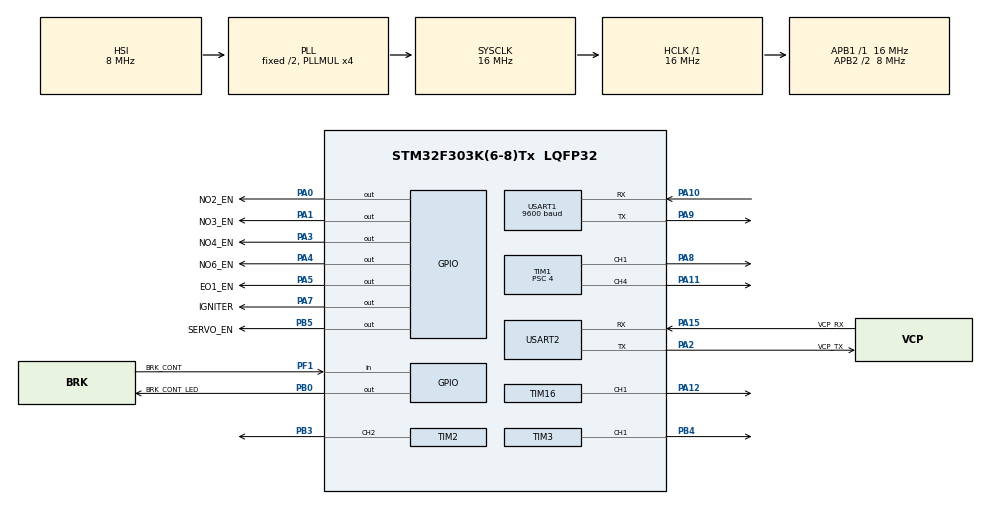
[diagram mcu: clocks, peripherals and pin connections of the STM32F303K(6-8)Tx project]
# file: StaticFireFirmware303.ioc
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Mcu.Family=STM32F3
Mcu.Name=STM32F303K(6-8)Tx
Mcu.Package=LQFP32
NVIC.PriorityGroup=NVIC_PRIORITYGROUP_4
NVIC.USART1_IRQn=true\:0\:0\:false\:false\:true\:true\:true\:true
PA0.GPIO_Label=NO2_EN
PA0.PinState=GPIO_PIN_RESET
PA0.Signal=GPIO_Output
PA1.GPIO_Label=NO3_EN
PA1.Signal=GPIO_Output
PA10.Mode=Asynchronous
PA10.Signal=USART1_RX
PA11.Signal=S_TIM1_CH4
PA12.Signal=S_TIM16_CH1
PA13.GPIO_Label=SWDIO
PA13.Mode=Serial_Wire
PA13.Signal=SYS_JTMS-SWDIO
PA14.GPIO_Label=SWCLK
PA14.Mode=Serial_Wire
PA14.Signal=SYS_JTCK-SWCLK
PA15.GPIO_Label=VCP_RX
PA15.Mode=Asynchronous
PA15.Signal=USART2_RX
PA2.GPIO_Label=VCP_TX
PA2.Mode=Asynchronous
PA2.Signal=USART2_TX
PA3.GPIO_Label=NO4_EN
PA3.Signal=GPIO_Output
PA4.GPIO_Label=NO6_EN
PA4.Signal=GPIO_Output
PA5.GPIO_Label=EO1_EN
PA5.Signal=GPIO_Output
PA7.GPIO_Label=IGNITER
PA7.GPIO_PuPd=GPIO_NOPULL
PA7.Signal=GPIO_Output
PA8.Signal=S_TIM1_CH1
PA9.Mode=Asynchronous
PA9.Signal=USART1_TX
PB0.GPIO_Label=BRK_CONT_LED
PB0.Signal=GPIO_Output
PB3.Signal=S_TIM2_CH2
PB4.Signal=S_TIM3_CH1
PB5.GPIO_Label=SERVO_EN
PB5.Signal=GPIO_Output
PF0\ /\ OSC_IN.GPIO_Label=MCO
PF0\ /\ OSC_IN.Mode=HSE-External-Clock-Source
PF0\ /\ OSC_IN.Signal=RCC_OSC_IN
PF1\ /\ OSC_OUT.GPIO_Label=BRK_CONT
PF1\ /\ OSC_OUT.GPIO_PuPd=GPIO_NOPULL
PF1\ /\ OSC_OUT.Signal=GPIO_Input
ProjectManager.HeapSize=0x200
ProjectManager.StackSize=0x400
ProjectManager.TargetToolchain=STM32CubeIDE
RCC.AHBFreq_Value=16000000
RCC.APB1Freq_Value=16000000
RCC.APB1TimFreq_Value=16000000
RCC.APB2CLKDivider=RCC_HCLK_DIV2
RCC.APB2Freq_Value=8000000
RCC.APB2TimFreq_Value=16000000
RCC.CortexFreq_Value=16000000
RCC.HCLKFreq_Value=16000000
RCC.HSE_VALUE=8000000
RCC.HSI_VALUE=8000000
RCC.PLLMUL=RCC_PLL_MUL4
RCC.SYSCLKFreq_VALUE=16000000
RCC.SYSCLKSourceVirtual=RCC_SYSCLKSOURCE_PLLCLK
SH.S_TIM16_CH1.0=TIM16_CH1,PWM Generation1 CH1
SH.S_TIM1_CH1.0=TIM1_CH1,PWM Generation1 CH1
SH.S_TIM1_CH4.0=TIM1_CH4,PWM Generation4 CH4
SH.S_TIM2_CH2.0=TIM2_CH2,PWM Generation2 CH2
SH.S_TIM3_CH1.0=TIM3_CH1,PWM Generation1 CH1
TIM1.Channel-PWM\ Generation1\ CH1=TIM_CHANNEL_1
TIM1.Channel-PWM\ Generation4\ CH4=TIM_CHANNEL_4
TIM1.Period=63999
TIM1.Prescaler=4
TIM16.BreakState=TIM_BREAK_DISABLE
TIM16.Channel=TIM_CHANNEL_1
TIM16.Period=63999
TIM16.Prescaler=4
TIM2.Channel-PWM\ Generation2\ CH2=TIM_CHANNEL_2
TIM2.Period=63999
TIM2.Prescaler=4
TIM3.Channel-PWM\ Generation1\ CH1=TIM_CHANNEL_1
TIM3.Period=63999
TIM3.Prescaler=4
USART1.BaudRate=9600
USART1.VirtualMode-Asynchronous=VM_ASYNC
USART2.VirtualMode-Asynchronous=VM_ASYNC
VP_TIM16_VS_ClockSourceINT.Mode=Enable_Timer
board=NUCLEO-F303K8

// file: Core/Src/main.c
/* USER CODE BEGIN Header */
/**
  ******************************************************************************
  * @file           : main.c
  * @brief          : Main program body
  ******************************************************************************
  * @attention
  *
  * Copyright (c) 2023 STMicroelectronics.
  * All rights reserved.
  *
  * This software is licensed under terms that can be found in the LICENSE file
  * in the root directory of this software component.
  * If no LICENSE file comes with this software, it is provided AS-IS.
  *
  ******************************************************************************
  */
/* USER CODE END Header */
#include "main.h"

/* USER CODE BEGIN Includes */
#include "tim.h"
#include "stdbool.h"
#include "config.h"
#include "deg_to_ccr.h"
#include "eo1.h"
#include "no6.h"
#include "no4.h"
#include "no3.h"
#include "no2.h"
#include "create_ack.h"
#include "igniter.h"
#include "servo.h"
#include "breakwire.h"
/* USER CODE END Includes */

TIM_HandleTypeDef htim1;
TIM_HandleTypeDef htim2;
TIM_HandleTypeDef htim3;
TIM_HandleTypeDef htim16;

UART_HandleTypeDef huart1;
UART_HandleTypeDef huart2;

void SystemClock_Config(void);
static void MX_GPIO_Init(void);
static void MX_USART2_UART_Init(void);
static void MX_TIM16_Init(void);
static void MX_USART1_UART_Init(void);
static void MX_TIM1_Init(void);
static void MX_TIM3_Init(void);
static void MX_TIM2_Init(void);
/* USER CODE BEGIN PFP */
void Tick_Components();
/* USER CODE END PFP */

int main(void)
{

  /* MCU Configuration--------------------------------------------------------*/

  /* Reset of all peripherals, Initializes the Flash interface and the Systick. */
  HAL_Init();

  /* Configure the system clock */
  SystemClock_Config();

  /* Initialize all configured peripherals */
  MX_GPIO_Init();
  MX_USART2_UART_Init();
  MX_TIM16_Init();
  MX_USART1_UART_Init();
  MX_TIM1_Init();
  MX_TIM3_Init();
  MX_TIM2_Init();
  /* USER CODE BEGIN 2 */

  HAL_UART_Receive_IT(&huart1, rx_buff, 1);

  /* USER CODE END 2 */

  /* Infinite loop */
  /* USER CODE BEGIN WHILE */
  while (1)
  {
	//activates servos
	if (rx_buff[0] == ACTIVATE_SERVOS) {
		Servo_Enable();
		isServoEnabled = true;
	}
	//deactivates servos
	else if (rx_buff[0] == DEACTIVATE_SERVOS) {
		Servo_Disable();
		isServoEnabled = false;
	}
	//if we get abort command disable servo signals and set flags
	if (rx_buff[0] == ABORT) {
		Servo_Disable();
		isServoEnabled = false;
		isAborted = true;
	}
	//remove abort flag if deabort
	else if (rx_buff[0] == DEABORT) {
		isAborted = false;
	}
	//set started flag if we get start cmd
	if (rx_buff[0] == START_1) {
		isStarted = true;
	}
	//removes started flag if we get destart cmd
	if (rx_buff[0] == DESTART) {
		isStarted = false;
	}
	if (rx_buff[0] == AUTO_ON) {
		if (Check_Breakwire() == GPIO_PIN_SET) {
			isAutoArmed = true;
		}
	}
	if (rx_buff[0] == AUTO_OFF) {
		isAutoArmed = false;
	}

	Tick_Components();

    //creates and sends acknowledgement if a new command is received or 5 seconds have passed
    if (rx_buff[0] != 0xF0 || ticks >= 50) {
    	Create_Ack();
    	tx_buff[0] = ack;
    	HAL_UART_Transmit_IT(&huart1, tx_buff, 1);
    	ack = 0x00;
    	ticks = 0;
    }
//    HAL_GPIO_TogglePin(BUILTIN_LED_GPIO_Port, BUILTIN_LED_Pin);
    rx_buff[0] = 0xF0;
    ++ticks;
    HAL_Delay(10);
    /* USER CODE END WHILE */

  }
}

void SystemClock_Config(void)
{
  RCC_OscInitTypeDef RCC_OscInitStruct = {0};
  RCC_ClkInitTypeDef RCC_ClkInitStruct = {0};
  RCC_PeriphCLKInitTypeDef PeriphClkInit = {0};

  /** Initializes the RCC Oscillators according to the specified parameters
  * in the RCC_OscInitTypeDef structure.
  */
  RCC_OscInitStruct.OscillatorType = RCC_OSCILLATORTYPE_HSI;
  RCC_OscInitStruct.HSIState = RCC_HSI_ON;
  RCC_OscInitStruct.HSICalibrationValue = RCC_HSICALIBRATION_DEFAULT;
  RCC_OscInitStruct.PLL.PLLState = RCC_PLL_ON;
  RCC_OscInitStruct.PLL.PLLSource = RCC_PLLSOURCE_HSI;
  RCC_OscInitStruct.PLL.PLLMUL = RCC_PLL_MUL4;
  if (HAL_RCC_OscConfig(&RCC_OscInitStruct) != HAL_OK)
  {
    Error_Handler();
  }

  /** Initializes the CPU, AHB and APB buses clocks
  */
  RCC_ClkInitStruct.ClockType = RCC_CLOCKTYPE_HCLK|RCC_CLOCKTYPE_SYSCLK
                              |RCC_CLOCKTYPE_PCLK1|RCC_CLOCKTYPE_PCLK2;
  RCC_ClkInitStruct.SYSCLKSource = RCC_SYSCLKSOURCE_PLLCLK;
  RCC_ClkInitStruct.AHBCLKDivider = RCC_SYSCLK_DIV1;
  RCC_ClkInitStruct.APB1CLKDivider = RCC_HCLK_DIV1;
  RCC_ClkInitStruct.APB2CLKDivider = RCC_HCLK_DIV2;

  if (HAL_RCC_ClockConfig(&RCC_ClkInitStruct, FLASH_LATENCY_0) != HAL_OK)
  {
    Error_Handler();
  }
  PeriphClkInit.PeriphClockSelection = RCC_PERIPHCLK_USART1|RCC_PERIPHCLK_TIM1;
  PeriphClkInit.Usart1ClockSelection = RCC_USART1CLKSOURCE_PCLK1;
  PeriphClkInit.Tim1ClockSelection = RCC_TIM1CLK_HCLK;
  if (HAL_RCCEx_PeriphCLKConfig(&PeriphClkInit) != HAL_OK)
  {
    Error_Handler();
  }
}

static void MX_TIM1_Init(void)
{

  TIM_MasterConfigTypeDef sMasterConfig = {0};
  TIM_OC_InitTypeDef sConfigOC = {0};
  TIM_BreakDeadTimeConfigTypeDef sBreakDeadTimeConfig = {0};

  htim1.Instance = TIM1;
  htim1.Init.Prescaler = 4;
  htim1.Init.CounterMode = TIM_COUNTERMODE_UP;
  htim1.Init.Period = 63999;
  htim1.Init.ClockDivision = TIM_CLOCKDIVISION_DIV1;
  htim1.Init.RepetitionCounter = 0;
  htim1.Init.AutoReloadPreload = TIM_AUTORELOAD_PRELOAD_DISABLE;
  if (HAL_TIM_PWM_Init(&htim1) != HAL_OK)
  {
    Error_Handler();
  }
  sMasterConfig.MasterOutputTrigger = TIM_TRGO_RESET;
  sMasterConfig.MasterOutputTrigger2 = TIM_TRGO2_RESET;
  sMasterConfig.MasterSlaveMode = TIM_MASTERSLAVEMODE_DISABLE;
  if (HAL_TIMEx_MasterConfigSynchronization(&htim1, &sMasterConfig) != HAL_OK)
  {
    Error_Handler();
  }
  sConfigOC.OCMode = TIM_OCMODE_PWM1;
  sConfigOC.Pulse = 0;
  sConfigOC.OCPolarity = TIM_OCPOLARITY_HIGH;
  sConfigOC.OCNPolarity = TIM_OCNPOLARITY_HIGH;
  sConfigOC.OCFastMode = TIM_OCFAST_DISABLE;
  sConfigOC.OCIdleState = TIM_OCIDLESTATE_RESET;
  sConfigOC.OCNIdleState = TIM_OCNIDLESTATE_RESET;
  if (HAL_TIM_PWM_ConfigChannel(&htim1, &sConfigOC, TIM_CHANNEL_1) != HAL_OK)
  {
    Error_Handler();
  }
  if (HAL_TIM_PWM_ConfigChannel(&htim1, &sConfigOC, TIM_CHANNEL_4) != HAL_OK)
  {
    Error_Handler();
  }
  sBreakDeadTimeConfig.OffStateRunMode = TIM_OSSR_DISABLE;
  sBreakDeadTimeConfig.OffStateIDLEMode = TIM_OSSI_DISABLE;
  sBreakDeadTimeConfig.LockLevel = TIM_LOCKLEVEL_OFF;
  sBreakDeadTimeConfig.DeadTime = 0;
  sBreakDeadTimeConfig.BreakState = TIM_BREAK_DISABLE;
  sBreakDeadTimeConfig.BreakPolarity = TIM_BREAKPOLARITY_HIGH;
  sBreakDeadTimeConfig.BreakFilter = 0;
  sBreakDeadTimeConfig.Break2State = TIM_BREAK2_DISABLE;
  sBreakDeadTimeConfig.Break2Polarity = TIM_BREAK2POLARITY_HIGH;
  sBreakDeadTimeConfig.Break2Filter = 0;
  sBreakDeadTimeConfig.AutomaticOutput = TIM_AUTOMATICOUTPUT_DISABLE;
  if (HAL_TIMEx_ConfigBreakDeadTime(&htim1, &sBreakDeadTimeConfig) != HAL_OK)
  {
    Error_Handler();
  }
  HAL_TIM_MspPostInit(&htim1);

}

static void MX_TIM2_Init(void)
{

  TIM_MasterConfigTypeDef sMasterConfig = {0};
  TIM_OC_InitTypeDef sConfigOC = {0};

  htim2.Instance = TIM2;
  htim2.Init.Prescaler = 4;
  htim2.Init.CounterMode = TIM_COUNTERMODE_UP;
  htim2.Init.Period = 63999;
  htim2.Init.ClockDivision = TIM_CLOCKDIVISION_DIV1;
  htim2.Init.AutoReloadPreload = TIM_AUTORELOAD_PRELOAD_DISABLE;
  if (HAL_TIM_PWM_Init(&htim2) != HAL_OK)
  {
    Error_Handler();
  }
  sMasterConfig.MasterOutputTrigger = TIM_TRGO_RESET;
  sMasterConfig.MasterSlaveMode = TIM_MASTERSLAVEMODE_DISABLE;
  if (HAL_TIMEx_MasterConfigSynchronization(&htim2, &sMasterConfig) != HAL_OK)
  {
    Error_Handler();
  }
  sConfigOC.OCMode = TIM_OCMODE_PWM1;
  sConfigOC.Pulse = 0;
  sConfigOC.OCPolarity = TIM_OCPOLARITY_HIGH;
  sConfigOC.OCFastMode = TIM_OCFAST_DISABLE;
  if (HAL_TIM_PWM_ConfigChannel(&htim2, &sConfigOC, TIM_CHANNEL_2) != HAL_OK)
  {
    Error_Handler();
  }
  HAL_TIM_MspPostInit(&htim2);

}

static void MX_TIM3_Init(void)
{

  TIM_MasterConfigTypeDef sMasterConfig = {0};
  TIM_OC_InitTypeDef sConfigOC = {0};

  htim3.Instance = TIM3;
  htim3.Init.Prescaler = 4;
  htim3.Init.CounterMode = TIM_COUNTERMODE_UP;
  htim3.Init.Period = 63999;
  htim3.Init.ClockDivision = TIM_CLOCKDIVISION_DIV1;
  htim3.Init.AutoReloadPreload = TIM_AUTORELOAD_PRELOAD_DISABLE;
  if (HAL_TIM_PWM_Init(&htim3) != HAL_OK)
  {
    Error_Handler();
  }
  sMasterConfig.MasterOutputTrigger = TIM_TRGO_RESET;
  sMasterConfig.MasterSlaveMode = TIM_MASTERSLAVEMODE_DISABLE;
  if (HAL_TIMEx_MasterConfigSynchronization(&htim3, &sMasterConfig) != HAL_OK)
  {
    Error_Handler();
  }
  sConfigOC.OCMode = TIM_OCMODE_PWM1;
  sConfigOC.Pulse = 0;
  sConfigOC.OCPolarity = TIM_OCPOLARITY_HIGH;
  sConfigOC.OCFastMode = TIM_OCFAST_DISABLE;
  if (HAL_TIM_PWM_ConfigChannel(&htim3, &sConfigOC, TIM_CHANNEL_1) != HAL_OK)
  {
    Error_Handler();
  }
  HAL_TIM_MspPostInit(&htim3);

}

static void MX_TIM16_Init(void)
{

  TIM_OC_InitTypeDef sConfigOC = {0};
  TIM_BreakDeadTimeConfigTypeDef sBreakDeadTimeConfig = {0};

  htim16.Instance = TIM16;
  htim16.Init.Prescaler = 4;
  htim16.Init.CounterMode = TIM_COUNTERMODE_UP;
  htim16.Init.Period = 63999;
  htim16.Init.ClockDivision = TIM_CLOCKDIVISION_DIV1;
  htim16.Init.RepetitionCounter = 0;
  htim16.Init.AutoReloadPreload = TIM_AUTORELOAD_PRELOAD_DISABLE;
  if (HAL_TIM_Base_Init(&htim16) != HAL_OK)
  {
    Error_Handler();
  }
  if (HAL_TIM_PWM_Init(&htim16) != HAL_OK)
  {
    Error_Handler();
  }
  sConfigOC.OCMode = TIM_OCMODE_PWM1;
  sConfigOC.Pulse = 0;
  sConfigOC.OCPolarity = TIM_OCPOLARITY_HIGH;
  sConfigOC.OCNPolarity = TIM_OCNPOLARITY_HIGH;
  sConfigOC.OCFastMode = TIM_OCFAST_DISABLE;
  sConfigOC.OCIdleState = TIM_OCIDLESTATE_RESET;
  sConfigOC.OCNIdleState = TIM_OCNIDLESTATE_RESET;
  if (HAL_TIM_PWM_ConfigChannel(&htim16, &sConfigOC, TIM_CHANNEL_1) != HAL_OK)
  {
    Error_Handler();
  }
  sBreakDeadTimeConfig.OffStateRunMode = TIM_OSSR_DISABLE;
  sBreakDeadTimeConfig.OffStateIDLEMode = TIM_OSSI_DISABLE;
  sBreakDeadTimeConfig.LockLevel = TIM_LOCKLEVEL_OFF;
  sBreakDeadTimeConfig.DeadTime = 0;
  sBreakDeadTimeConfig.BreakState = TIM_BREAK_DISABLE;
  sBreakDeadTimeConfig.BreakPolarity = TIM_BREAKPOLARITY_HIGH;
  sBreakDeadTimeConfig.BreakFilter = 0;
  sBreakDeadTimeConfig.AutomaticOutput = TIM_AUTOMATICOUTPUT_DISABLE;
  if (HAL_TIMEx_ConfigBreakDeadTime(&htim16, &sBreakDeadTimeConfig) != HAL_OK)
  {
    Error_Handler();
  }
  HAL_TIM_MspPostInit(&htim16);

}

static void MX_USART1_UART_Init(void)
{

  huart1.Instance = USART1;
  huart1.Init.BaudRate = 9600;
  huart1.Init.WordLength = UART_WORDLENGTH_8B;
  huart1.Init.StopBits = UART_STOPBITS_1;
  huart1.Init.Parity = UART_PARITY_NONE;
  huart1.Init.Mode = UART_MODE_TX_RX;
  huart1.Init.HwFlowCtl = UART_HWCONTROL_NONE;
  huart1.Init.OverSampling = UART_OVERSAMPLING_16;
  huart1.Init.OneBitSampling = UART_ONE_BIT_SAMPLE_DISABLE;
  huart1.AdvancedInit.AdvFeatureInit = UART_ADVFEATURE_NO_INIT;
  if (HAL_UART_Init(&huart1) != HAL_OK)
  {
    Error_Handler();
  }

}

static void MX_USART2_UART_Init(void)
{

  huart2.Instance = USART2;
  huart2.Init.BaudRate = 38400;
  huart2.Init.WordLength = UART_WORDLENGTH_8B;
  huart2.Init.StopBits = UART_STOPBITS_1;
  huart2.Init.Parity = UART_PARITY_NONE;
  huart2.Init.Mode = UART_MODE_TX_RX;
  huart2.Init.HwFlowCtl = UART_HWCONTROL_NONE;
  huart2.Init.OverSampling = UART_OVERSAMPLING_16;
  huart2.Init.OneBitSampling = UART_ONE_BIT_SAMPLE_DISABLE;
  huart2.AdvancedInit.AdvFeatureInit = UART_ADVFEATURE_NO_INIT;
  if (HAL_UART_Init(&huart2) != HAL_OK)
  {
    Error_Handler();
  }

}

static void MX_GPIO_Init(void)
{
  GPIO_InitTypeDef GPIO_InitStruct = {0};

  /* GPIO Ports Clock Enable */
  __HAL_RCC_GPIOF_CLK_ENABLE();
  __HAL_RCC_GPIOA_CLK_ENABLE();
  __HAL_RCC_GPIOB_CLK_ENABLE();

  /*Configure GPIO pin Output Level */
  HAL_GPIO_WritePin(GPIOA, NO2_EN_Pin|NO3_EN_Pin|NO4_EN_Pin|NO6_EN_Pin
                          |EO1_EN_Pin|IGNITER_Pin, GPIO_PIN_RESET);

  /*Configure GPIO pin Output Level */
  HAL_GPIO_WritePin(GPIOB, BRK_CONT_LED_Pin|SERVO_EN_Pin, GPIO_PIN_RESET);

  /*Configure GPIO pin : BRK_CONT_Pin */
  GPIO_InitStruct.Pin = BRK_CONT_Pin;
  GPIO_InitStruct.Mode = GPIO_MODE_INPUT;
  GPIO_InitStruct.Pull = GPIO_NOPULL;
  HAL_GPIO_Init(BRK_CONT_GPIO_Port, &GPIO_InitStruct);

  /*Configure GPIO pins : NO2_EN_Pin NO3_EN_Pin NO4_EN_Pin NO6_EN_Pin
                           EO1_EN_Pin IGNITER_Pin */
  GPIO_InitStruct.Pin = NO2_EN_Pin|NO3_EN_Pin|NO4_EN_Pin|NO6_EN_Pin
                          |EO1_EN_Pin|IGNITER_Pin;
  GPIO_InitStruct.Mode = GPIO_MODE_OUTPUT_PP;
  GPIO_InitStruct.Pull = GPIO_NOPULL;
  GPIO_InitStruct.Speed = GPIO_SPEED_FREQ_LOW;
  HAL_GPIO_Init(GPIOA, &GPIO_InitStruct);

  /*Configure GPIO pins : BRK_CONT_LED_Pin SERVO_EN_Pin */
  GPIO_InitStruct.Pin = BRK_CONT_LED_Pin|SERVO_EN_Pin;
  GPIO_InitStruct.Mode = GPIO_MODE_OUTPUT_PP;
  GPIO_InitStruct.Pull = GPIO_NOPULL;
  GPIO_InitStruct.Speed = GPIO_SPEED_FREQ_LOW;
  HAL_GPIO_Init(GPIOB, &GPIO_InitStruct);

}

/* USER CODE BEGIN 4 */

//received uart byte gets put into rx_buff and interrupt re-enabled
void HAL_UART_RxCpltCallback(UART_HandleTypeDef *huart)
{
  Tick_Components();
  HAL_UART_Receive_IT(&huart1, rx_buff, 1);
}

void Tick_Components() {
	//ticks calls servo functions if servos have been enabled and abort isn't enabled
	if (isServoEnabled && !isAborted) {
		Tick_NO2(rx_buff[0], &servos[3]);
		Tick_NO4(rx_buff[0], &servos[2]);
		Tick_NO6(rx_buff[0], &servos[0]);
		Tick_EO1(rx_buff[0], &servos[1]);
		Tick_NO3(rx_buff[0], &servos[4]);
	}
	Tick_Igniter(rx_buff[0]);
	Tick_Breakwire_LED();
}

/* USER CODE END 4 */

void Error_Handler(void)
{
  __disable_irq();
  while (1)
  {
  }
}
